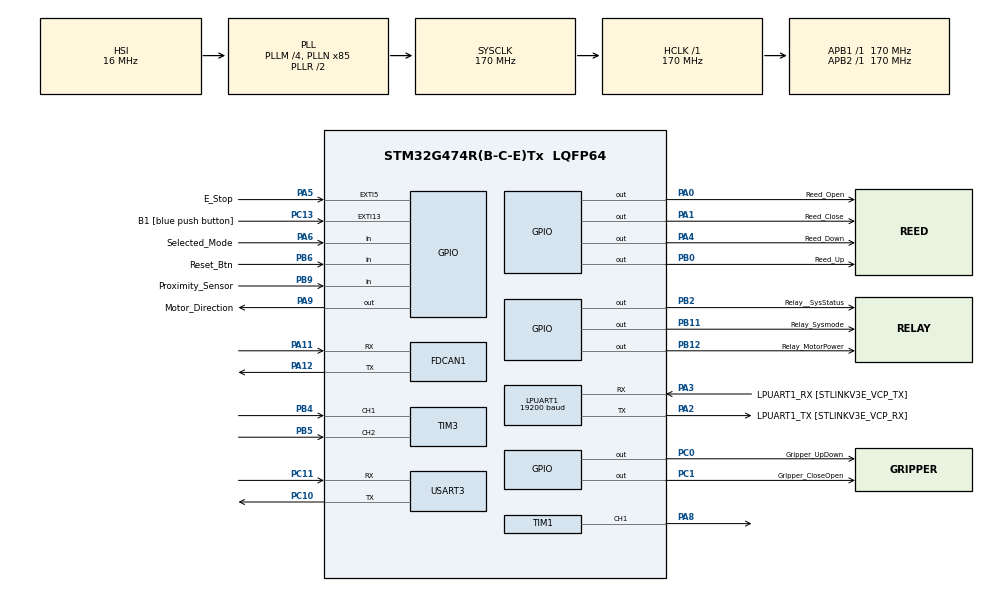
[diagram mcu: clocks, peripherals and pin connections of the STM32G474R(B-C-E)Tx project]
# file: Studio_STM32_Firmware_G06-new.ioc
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FDCAN1.CalculateBaudRateNominal=3541666
FDCAN1.CalculateTimeBitNominal=282
FDCAN1.CalculateTimeQuantumNominal=94.11764705882354
LPUART1.BaudRate=19200
LPUART1.Parity=UART_PARITY_EVEN
LPUART1.WordLength=UART_WORDLENGTH_9B
Mcu.Family=STM32G4
Mcu.Name=STM32G474R(B-C-E)Tx
Mcu.Package=LQFP64
NVIC.EXTI15_10_IRQn=true\:0\:0\:false\:false\:true\:true\:true\:true
NVIC.EXTI9_5_IRQn=true\:0\:0\:false\:false\:true\:true\:true\:true
NVIC.LPUART1_IRQn=true\:0\:0\:false\:false\:true\:true\:true\:true
NVIC.PriorityGroup=NVIC_PRIORITYGROUP_4
NVIC.TIM1_UP_TIM16_IRQn=true\:0\:0\:false\:false\:true\:true\:true\:true
NVIC.TIM6_DAC_IRQn=true\:0\:0\:false\:false\:true\:true\:true\:true
NVIC.USART3_IRQn=true\:0\:0\:false\:false\:true\:true\:true\:true
PA0.GPIO_Label=Reed_Open
PA0.Signal=GPIO_Output
PA1.GPIO_Label=Reed_Close
PA1.Signal=GPIO_Output
PA11.Mode=FDCAN_Activate
PA11.Signal=FDCAN1_RX
PA12.Mode=FDCAN_Activate
PA12.Signal=FDCAN1_TX
PA13.GPIO_Label=T_SWDIO
PA13.Signal=SYS_JTMS-SWDIO
PA14.GPIO_Label=T_SWCLK
PA14.Signal=SYS_JTCK-SWCLK
PA2.GPIO_Label=LPUART1_TX [STLINKV3E_VCP_RX]
PA2.Mode=Asynchronous
PA2.Signal=LPUART1_TX
PA3.GPIO_Label=LPUART1_RX [STLINKV3E_VCP_TX]
PA3.Mode=Asynchronous
PA3.Signal=LPUART1_RX
PA4.GPIO_Label=Reed_Down
PA4.Signal=GPIO_Output
PA5.GPIO_Label=E_Stop
PA5.GPIO_ModeDefaultEXTI=GPIO_MODE_IT_FALLING
PA5.GPIO_PuPd=GPIO_PULLUP
PA5.Signal=GPXTI5
PA6.GPIO_Label=Selected_Mode
PA6.GPIO_PuPd=GPIO_PULLUP
PA6.Signal=GPIO_Input
PA8.Signal=S_TIM1_CH1
PA9.GPIO_Label=Motor_Direction
PA9.Signal=GPIO_Output
PB0.GPIO_Label=Reed_Up
PB0.Signal=GPIO_Output
PB11.GPIO_Label=Relay_Sysmode
PB11.Signal=GPIO_Output
PB12.GPIO_Label=Relay_MotorPower
PB12.Signal=GPIO_Output
PB2.GPIO_Label=Relay__SysStatus
PB2.Signal=GPIO_Output
PB3.GPIO_Label=T_SWO
PB3.Signal=SYS_JTDO-SWO
PB4.Signal=S_TIM3_CH1
PB5.Signal=S_TIM3_CH2
PB6.GPIO_Label=Reset_Btn
PB6.GPIO_PuPd=GPIO_PULLUP
PB6.Signal=GPIO_Input
PB9.GPIO_Label=Proximity_Sensor
PB9.GPIO_PuPd=GPIO_PULLUP
PB9.Signal=GPIO_Input
PC0.GPIO_Label=Gripper_UpDown
PC0.Signal=GPIO_Output
PC1.GPIO_Label=Gripper_CloseOpen
PC1.Signal=GPIO_Output
PC10.Mode=Asynchronous
PC10.Signal=USART3_TX
PC11.Mode=Asynchronous
PC11.Signal=USART3_RX
PC13.GPIO_Label=B1 [blue push button]
PC13.Signal=GPXTI13
PC14-OSC32_IN.GPIO_Label=RCC_OSC32_IN
PC14-OSC32_IN.Signal=RCC_OSC32_IN
PC15-OSC32_OUT.GPIO_Label=RCC_OSC32_OUT
PC15-OSC32_OUT.Signal=RCC_OSC32_OUT
PF0-OSC_IN.GPIO_Label=RCC_OSC_IN
PF0-OSC_IN.Signal=RCC_OSC_IN
PF1-OSC_OUT.GPIO_Label=RCC_OSC_OUT
PF1-OSC_OUT.Signal=RCC_OSC_OUT
ProjectManager.HeapSize=0x200
ProjectManager.StackSize=0x400
ProjectManager.TargetToolchain=STM32CubeIDE
RCC.ADC12Freq_Value=170000000
RCC.ADC345Freq_Value=170000000
RCC.AHBFreq_Value=170000000
RCC.APB1Freq_Value=170000000
RCC.APB1TimFreq_Value=170000000
RCC.APB2Freq_Value=170000000
RCC.APB2TimFreq_Value=170000000
RCC.CortexFreq_Value=170000000
RCC.EXTERNAL_CLOCK_VALUE=12288000
RCC.HCLKFreq_Value=170000000
RCC.HSE_VALUE=24000000
RCC.HSI48_VALUE=48000000
RCC.HSI_VALUE=16000000
RCC.LPUART1CLockSelection=RCC_LPUART1CLKSOURCE_HSI
RCC.LSE_VALUE=32768
RCC.PLLM=RCC_PLLM_DIV4
RCC.PLLN=85
RCC.RTCClockSelection=RCC_RTCCLKSOURCE_LSE
RCC.SYSCLKFreq_VALUE=170000000
RCC.SYSCLKSource=RCC_SYSCLKSOURCE_PLLCLK
RCC.USBFreq_Value=170000000
RCC.VCOOutputFreq_Value=340000000
SH.S_TIM1_CH1.0=TIM1_CH1,PWM Generation1 CH1
SH.S_TIM3_CH1.0=TIM3_CH1,Encoder_Interface
SH.S_TIM3_CH2.0=TIM3_CH2,Encoder_Interface
TIM1.Channel-PWM\ Generation1\ CH1=TIM_CHANNEL_1
TIM1.PeriodNoDither=50
TIM1.Prescaler=169
TIM16.PeriodNoDither=49
TIM16.Prescaler=16999
TIM3.EncoderMode=TIM_ENCODERMODE_TI12
TIM6.AutoReloadPreload=TIM_AUTORELOAD_PRELOAD_ENABLE
TIM6.PeriodNoDither=9999
TIM6.Prescaler=169
USART3.SwapParam=ADVFEATURE_SWAP_ENABLE
USART3.VirtualMode-Asynchronous=VM_ASYNC
VP_SYS_VS_DBSignals.Mode=DisableDeadBatterySignals
VP_TIM16_VS_ClockSourceINT.Mode=Enable_Timer
VP_TIM1_VS_ClockSourceINT.Mode=Internal
VP_TIM6_VS_ClockSourceINT.Mode=Enable_Timer
board=NUCLEO-G474RE

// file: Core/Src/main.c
/* USER CODE BEGIN Header */
/**
  ******************************************************************************
  * @file           : main.c
  * @brief          : Main program body
  ******************************************************************************
  * @attention
  *
  * Copyright (c) 2026 STMicroelectronics.
  * All rights reserved.
  *
  * This software is licensed under terms that can be found in the LICENSE file
  * in the root directory of this software component.
  * If no LICENSE file comes with this software, it is provided AS-IS.
  *
  ******************************************************************************
  */
/* USER CODE END Header */
#include "main.h"

/* USER CODE BEGIN Includes */
#include "motor_controller.h"
#include "modbus_bridge.h"
#include "hw_io.h"
#include <string.h>
#include <stdio.h>
/* USER CODE END Includes */

FDCAN_HandleTypeDef hfdcan1;

UART_HandleTypeDef hlpuart1;
UART_HandleTypeDef huart3;

TIM_HandleTypeDef htim1;
TIM_HandleTypeDef htim3;
TIM_HandleTypeDef htim6;
TIM_HandleTypeDef htim16;

/* USER CODE BEGIN PV */
volatile uint8_t rx_byte;
volatile char rx_packet[4];
volatile int rx_ptr = 0;
volatile char rx_debug_log[16];  // Circular log to see command history in Live Expressions
volatile uint8_t debug_idx = 0;
volatile uint8_t modbus_rx_byte;
/* USER CODE END PV */

void SystemClock_Config(void);
static void MX_GPIO_Init(void);
static void MX_FDCAN1_Init(void);
static void MX_LPUART1_UART_Init(void);
static void MX_USART3_UART_Init(void);
static void MX_TIM1_Init(void);
static void MX_TIM3_Init(void);
static void MX_TIM6_Init(void);
static void MX_TIM16_Init(void);

int main(void)
{

  /* MCU Configuration--------------------------------------------------------*/

  /* Reset of all peripherals, Initializes the Flash interface and the Systick. */
  HAL_Init();

  /* Configure the system clock */
  SystemClock_Config();

  /* Initialize all configured peripherals */
  MX_GPIO_Init();
  MX_FDCAN1_Init();
  MX_LPUART1_UART_Init();
  MX_USART3_UART_Init();
  MX_TIM1_Init();
  MX_TIM3_Init();
  MX_TIM6_Init();
  MX_TIM16_Init();
  /* USER CODE BEGIN 2 */
  Motor_Init();
  HW_Init();
  Motor_SetVoltageLimit(12.0f, 12.0f);
  Motor_SetMotionProfile(250.0f, 500.0f, 0.1f);
  ModbusBridge_Init();

  HAL_UART_Receive_IT(&hlpuart1, (uint8_t*)&modbus_rx_byte, 1);
  HAL_UART_Receive_IT(&huart3, (uint8_t*)&rx_byte, 1);

  /* --- Startup Selection --- */
  printf("\r\n==========================================\r\n");
  printf("   ROBO-COOK STARTUP SELECTION\r\n");
  printf("==========================================\r\n");
  printf(" [A] - RUN AUTO-HOMING (RECALIBRATE)\r\n");
  printf(" [B] - SKIP (USE CURRENT POSITION)\r\n");
  printf(" Waiting for Joystick...\r\n");

  extern volatile bool emergency_stop;
  emergency_stop = true; // Stay locked until choice made

  while (1) {
      if (rx_packet[0] == 'A') {
          printf("\r\n>>> HOMING SELECTED <<<\r\n");
          emergency_stop = false;
          while (!Motor_RunHomingSequence()) {
              HAL_Delay(10);
          }
          rx_packet[0] = 'O'; // Reset to neutral
          break;
      }
      else if (rx_packet[0] == 'B') {
          printf("\r\n>>> HOMING SKIPPED <<<\r\n");
          emergency_stop = false;
          rx_packet[0] = 'O'; // Reset to neutral
          break;
      }
      HAL_Delay(50);
  }
  printf(" System Ready. Entering Main Loop...\r\n\r\n");
  /* USER CODE END 2 */

  /* Infinite loop */
  /* USER CODE BEGIN WHILE */
  uint32_t last_matlab_tick = HAL_GetTick();
  while (1)
  {
    /* USER CODE END WHILE */

    /* USER CODE BEGIN 3 */
    // Dummy usage to force linker to keep these symbols for Live Expressions
    if (debug_idx > 100) rx_debug_log[0] = 0;

    if (HAL_GetTick() - last_matlab_tick >= 20) {
      Motor_SendDataToMatlab();
      last_matlab_tick = HAL_GetTick();
    }

    if (trigger_homing_sequence) {
      static uint32_t last_homing_tick = 0;
      if (HAL_GetTick() - last_homing_tick >= 10) {
        if (Motor_RunHomingSequence()) {
          trigger_homing_sequence = false;
        }
        last_homing_tick = HAL_GetTick();
      }
    }

    ModbusBridge_UpdateRegisters();
    ModbusBridge_Process();
  }
  /* USER CODE END 3 */
}

void SystemClock_Config(void)
{
  RCC_OscInitTypeDef RCC_OscInitStruct = {0};
  RCC_ClkInitTypeDef RCC_ClkInitStruct = {0};

  /** Configure the main internal regulator output voltage
  */
  HAL_PWREx_ControlVoltageScaling(PWR_REGULATOR_VOLTAGE_SCALE1_BOOST);

  /** Initializes the RCC Oscillators according to the specified parameters
  * in the RCC_OscInitTypeDef structure.
  */
  RCC_OscInitStruct.OscillatorType = RCC_OSCILLATORTYPE_HSI;
  RCC_OscInitStruct.HSIState = RCC_HSI_ON;
  RCC_OscInitStruct.HSICalibrationValue = RCC_HSICALIBRATION_DEFAULT;
  RCC_OscInitStruct.PLL.PLLState = RCC_PLL_ON;
  RCC_OscInitStruct.PLL.PLLSource = RCC_PLLSOURCE_HSI;
  RCC_OscInitStruct.PLL.PLLM = RCC_PLLM_DIV4;
  RCC_OscInitStruct.PLL.PLLN = 85;
  RCC_OscInitStruct.PLL.PLLP = RCC_PLLP_DIV2;
  RCC_OscInitStruct.PLL.PLLQ = RCC_PLLQ_DIV2;
  RCC_OscInitStruct.PLL.PLLR = RCC_PLLR_DIV2;
  if (HAL_RCC_OscConfig(&RCC_OscInitStruct) != HAL_OK)
  {
    Error_Handler();
  }

  /** Initializes the CPU, AHB and APB buses clocks
  */
  RCC_ClkInitStruct.ClockType = RCC_CLOCKTYPE_HCLK|RCC_CLOCKTYPE_SYSCLK
                              |RCC_CLOCKTYPE_PCLK1|RCC_CLOCKTYPE_PCLK2;
  RCC_ClkInitStruct.SYSCLKSource = RCC_SYSCLKSOURCE_PLLCLK;
  RCC_ClkInitStruct.AHBCLKDivider = RCC_SYSCLK_DIV1;
  RCC_ClkInitStruct.APB1CLKDivider = RCC_HCLK_DIV1;
  RCC_ClkInitStruct.APB2CLKDivider = RCC_HCLK_DIV1;

  if (HAL_RCC_ClockConfig(&RCC_ClkInitStruct, FLASH_LATENCY_4) != HAL_OK)
  {
    Error_Handler();
  }
}

static void MX_FDCAN1_Init(void)
{

  hfdcan1.Instance = FDCAN1;
  hfdcan1.Init.ClockDivider = FDCAN_CLOCK_DIV1;
  hfdcan1.Init.FrameFormat = FDCAN_FRAME_CLASSIC;
  hfdcan1.Init.Mode = FDCAN_MODE_NORMAL;
  hfdcan1.Init.AutoRetransmission = DISABLE;
  hfdcan1.Init.TransmitPause = DISABLE;
  hfdcan1.Init.ProtocolException = DISABLE;
  hfdcan1.Init.NominalPrescaler = 16;
  hfdcan1.Init.NominalSyncJumpWidth = 1;
  hfdcan1.Init.NominalTimeSeg1 = 1;
  hfdcan1.Init.NominalTimeSeg2 = 1;
  hfdcan1.Init.DataPrescaler = 1;
  hfdcan1.Init.DataSyncJumpWidth = 1;
  hfdcan1.Init.DataTimeSeg1 = 1;
  hfdcan1.Init.DataTimeSeg2 = 1;
  hfdcan1.Init.StdFiltersNbr = 0;
  hfdcan1.Init.ExtFiltersNbr = 0;
  hfdcan1.Init.TxFifoQueueMode = FDCAN_TX_FIFO_OPERATION;
  if (HAL_FDCAN_Init(&hfdcan1) != HAL_OK)
  {
    Error_Handler();
  }

}

static void MX_LPUART1_UART_Init(void)
{

  hlpuart1.Instance = LPUART1;
  hlpuart1.Init.BaudRate = 19200;
  hlpuart1.Init.WordLength = UART_WORDLENGTH_9B;
  hlpuart1.Init.StopBits = UART_STOPBITS_1;
  hlpuart1.Init.Parity = UART_PARITY_EVEN;
  hlpuart1.Init.Mode = UART_MODE_TX_RX;
  hlpuart1.Init.HwFlowCtl = UART_HWCONTROL_NONE;
  hlpuart1.Init.OneBitSampling = UART_ONE_BIT_SAMPLE_DISABLE;
  hlpuart1.Init.ClockPrescaler = UART_PRESCALER_DIV1;
  hlpuart1.AdvancedInit.AdvFeatureInit = UART_ADVFEATURE_NO_INIT;
  if (HAL_UART_Init(&hlpuart1) != HAL_OK)
  {
    Error_Handler();
  }
  if (HAL_UARTEx_SetTxFifoThreshold(&hlpuart1, UART_TXFIFO_THRESHOLD_1_8) != HAL_OK)
  {
    Error_Handler();
  }
  if (HAL_UARTEx_SetRxFifoThreshold(&hlpuart1, UART_RXFIFO_THRESHOLD_1_8) != HAL_OK)
  {
    Error_Handler();
  }
  if (HAL_UARTEx_DisableFifoMode(&hlpuart1) != HAL_OK)
  {
    Error_Handler();
  }

}

static void MX_USART3_UART_Init(void)
{

  huart3.Instance = USART3;
  huart3.Init.BaudRate = 115200;
  huart3.Init.WordLength = UART_WORDLENGTH_8B;
  huart3.Init.StopBits = UART_STOPBITS_1;
  huart3.Init.Parity = UART_PARITY_NONE;
  huart3.Init.Mode = UART_MODE_TX_RX;
  huart3.Init.HwFlowCtl = UART_HWCONTROL_NONE;
  huart3.Init.OverSampling = UART_OVERSAMPLING_16;
  huart3.Init.OneBitSampling = UART_ONE_BIT_SAMPLE_DISABLE;
  huart3.Init.ClockPrescaler = UART_PRESCALER_DIV1;
  huart3.AdvancedInit.AdvFeatureInit = UART_ADVFEATURE_SWAP_INIT;
  huart3.AdvancedInit.Swap = UART_ADVFEATURE_SWAP_ENABLE;
  if (HAL_UART_Init(&huart3) != HAL_OK)
  {
    Error_Handler();
  }
  if (HAL_UARTEx_SetTxFifoThreshold(&huart3, UART_TXFIFO_THRESHOLD_1_8) != HAL_OK)
  {
    Error_Handler();
  }
  if (HAL_UARTEx_SetRxFifoThreshold(&huart3, UART_RXFIFO_THRESHOLD_1_8) != HAL_OK)
  {
    Error_Handler();
  }
  if (HAL_UARTEx_DisableFifoMode(&huart3) != HAL_OK)
  {
    Error_Handler();
  }

}

static void MX_TIM1_Init(void)
{

  TIM_ClockConfigTypeDef sClockSourceConfig = {0};
  TIM_MasterConfigTypeDef sMasterConfig = {0};
  TIM_OC_InitTypeDef sConfigOC = {0};
  TIM_BreakDeadTimeConfigTypeDef sBreakDeadTimeConfig = {0};

  htim1.Instance = TIM1;
  htim1.Init.Prescaler = 169;
  htim1.Init.CounterMode = TIM_COUNTERMODE_UP;
  htim1.Init.Period = 50;
  htim1.Init.ClockDivision = TIM_CLOCKDIVISION_DIV1;
  htim1.Init.RepetitionCounter = 0;
  htim1.Init.AutoReloadPreload = TIM_AUTORELOAD_PRELOAD_DISABLE;
  if (HAL_TIM_Base_Init(&htim1) != HAL_OK)
  {
    Error_Handler();
  }
  sClockSourceConfig.ClockSource = TIM_CLOCKSOURCE_INTERNAL;
  if (HAL_TIM_ConfigClockSource(&htim1, &sClockSourceConfig) != HAL_OK)
  {
    Error_Handler();
  }
  if (HAL_TIM_PWM_Init(&htim1) != HAL_OK)
  {
    Error_Handler();
  }
  sMasterConfig.MasterOutputTrigger = TIM_TRGO_RESET;
  sMasterConfig.MasterOutputTrigger2 = TIM_TRGO2_RESET;
  sMasterConfig.MasterSlaveMode = TIM_MASTERSLAVEMODE_DISABLE;
  if (HAL_TIMEx_MasterConfigSynchronization(&htim1, &sMasterConfig) != HAL_OK)
  {
    Error_Handler();
  }
  sConfigOC.OCMode = TIM_OCMODE_PWM1;
  sConfigOC.Pulse = 0;
  sConfigOC.OCPolarity = TIM_OCPOLARITY_HIGH;
  sConfigOC.OCNPolarity = TIM_OCNPOLARITY_HIGH;
  sConfigOC.OCFastMode = TIM_OCFAST_DISABLE;
  sConfigOC.OCIdleState = TIM_OCIDLESTATE_RESET;
  sConfigOC.OCNIdleState = TIM_OCNIDLESTATE_RESET;
  if (HAL_TIM_PWM_ConfigChannel(&htim1, &sConfigOC, TIM_CHANNEL_1) != HAL_OK)
  {
    Error_Handler();
  }
  sBreakDeadTimeConfig.OffStateRunMode = TIM_OSSR_DISABLE;
  sBreakDeadTimeConfig.OffStateIDLEMode = TIM_OSSI_DISABLE;
  sBreakDeadTimeConfig.LockLevel = TIM_LOCKLEVEL_OFF;
  sBreakDeadTimeConfig.DeadTime = 0;
  sBreakDeadTimeConfig.BreakState = TIM_BREAK_DISABLE;
  sBreakDeadTimeConfig.BreakPolarity = TIM_BREAKPOLARITY_HIGH;
  sBreakDeadTimeConfig.BreakFilter = 0;
  sBreakDeadTimeConfig.BreakAFMode = TIM_BREAK_AFMODE_INPUT;
  sBreakDeadTimeConfig.Break2State = TIM_BREAK2_DISABLE;
  sBreakDeadTimeConfig.Break2Polarity = TIM_BREAK2POLARITY_HIGH;
  sBreakDeadTimeConfig.Break2Filter = 0;
  sBreakDeadTimeConfig.Break2AFMode = TIM_BREAK_AFMODE_INPUT;
  sBreakDeadTimeConfig.AutomaticOutput = TIM_AUTOMATICOUTPUT_DISABLE;
  if (HAL_TIMEx_ConfigBreakDeadTime(&htim1, &sBreakDeadTimeConfig) != HAL_OK)
  {
    Error_Handler();
  }
  HAL_TIM_MspPostInit(&htim1);

}

static void MX_TIM3_Init(void)
{

  TIM_Encoder_InitTypeDef sConfig = {0};
  TIM_MasterConfigTypeDef sMasterConfig = {0};

  htim3.Instance = TIM3;
  htim3.Init.Prescaler = 0;
  htim3.Init.CounterMode = TIM_COUNTERMODE_UP;
  htim3.Init.Period = 65535;
  htim3.Init.ClockDivision = TIM_CLOCKDIVISION_DIV1;
  htim3.Init.AutoReloadPreload = TIM_AUTORELOAD_PRELOAD_DISABLE;
  sConfig.EncoderMode = TIM_ENCODERMODE_TI12;
  sConfig.IC1Polarity = TIM_ICPOLARITY_RISING;
  sConfig.IC1Selection = TIM_ICSELECTION_DIRECTTI;
  sConfig.IC1Prescaler = TIM_ICPSC_DIV1;
  sConfig.IC1Filter = 0;
  sConfig.IC2Polarity = TIM_ICPOLARITY_RISING;
  sConfig.IC2Selection = TIM_ICSELECTION_DIRECTTI;
  sConfig.IC2Prescaler = TIM_ICPSC_DIV1;
  sConfig.IC2Filter = 0;
  if (HAL_TIM_Encoder_Init(&htim3, &sConfig) != HAL_OK)
  {
    Error_Handler();
  }
  sMasterConfig.MasterOutputTrigger = TIM_TRGO_RESET;
  sMasterConfig.MasterSlaveMode = TIM_MASTERSLAVEMODE_DISABLE;
  if (HAL_TIMEx_MasterConfigSynchronization(&htim3, &sMasterConfig) != HAL_OK)
  {
    Error_Handler();
  }

}

static void MX_TIM6_Init(void)
{

  TIM_MasterConfigTypeDef sMasterConfig = {0};

  htim6.Instance = TIM6;
  htim6.Init.Prescaler = 169;
  htim6.Init.CounterMode = TIM_COUNTERMODE_UP;
  htim6.Init.Period = 9999;
  htim6.Init.AutoReloadPreload = TIM_AUTORELOAD_PRELOAD_ENABLE;
  if (HAL_TIM_Base_Init(&htim6) != HAL_OK)
  {
    Error_Handler();
  }
  sMasterConfig.MasterOutputTrigger = TIM_TRGO_RESET;
  sMasterConfig.MasterSlaveMode = TIM_MASTERSLAVEMODE_DISABLE;
  if (HAL_TIMEx_MasterConfigSynchronization(&htim6, &sMasterConfig) != HAL_OK)
  {
    Error_Handler();
  }

}

static void MX_TIM16_Init(void)
{

  htim16.Instance = TIM16;
  htim16.Init.Prescaler = 16999;
  htim16.Init.CounterMode = TIM_COUNTERMODE_UP;
  htim16.Init.Period = 49;
  htim16.Init.ClockDivision = TIM_CLOCKDIVISION_DIV1;
  htim16.Init.RepetitionCounter = 0;
  htim16.Init.AutoReloadPreload = TIM_AUTORELOAD_PRELOAD_DISABLE;
  if (HAL_TIM_Base_Init(&htim16) != HAL_OK)
  {
    Error_Handler();
  }

}

static void MX_GPIO_Init(void)
{
  GPIO_InitTypeDef GPIO_InitStruct = {0};

  /* GPIO Ports Clock Enable */
  __HAL_RCC_GPIOC_CLK_ENABLE();
  __HAL_RCC_GPIOF_CLK_ENABLE();
  __HAL_RCC_GPIOA_CLK_ENABLE();
  __HAL_RCC_GPIOB_CLK_ENABLE();

  /*Configure GPIO pin Output Level */
  HAL_GPIO_WritePin(GPIOC, Gripper_UpDown_Pin|Gripper_CloseOpen_Pin, GPIO_PIN_RESET);

  /*Configure GPIO pin Output Level */
  HAL_GPIO_WritePin(GPIOA, Reed_Open_Pin|Reed_Close_Pin|Reed_Down_Pin|Motor_Direction_Pin, GPIO_PIN_RESET);

  /*Configure GPIO pin Output Level */
  HAL_GPIO_WritePin(GPIOB, Reed_Up_Pin|Relay__SysStatus_Pin|Relay_Sysmode_Pin|Relay_MotorPower_Pin, GPIO_PIN_RESET);

  /*Configure GPIO pin : B1_Pin */
  GPIO_InitStruct.Pin = B1_Pin;
  GPIO_InitStruct.Mode = GPIO_MODE_IT_RISING;
  GPIO_InitStruct.Pull = GPIO_NOPULL;
  HAL_GPIO_Init(B1_GPIO_Port, &GPIO_InitStruct);

  /*Configure GPIO pins : Gripper_UpDown_Pin Gripper_CloseOpen_Pin */
  GPIO_InitStruct.Pin = Gripper_UpDown_Pin|Gripper_CloseOpen_Pin;
  GPIO_InitStruct.Mode = GPIO_MODE_OUTPUT_PP;
  GPIO_InitStruct.Pull = GPIO_NOPULL;
  GPIO_InitStruct.Speed = GPIO_SPEED_FREQ_LOW;
  HAL_GPIO_Init(GPIOC, &GPIO_InitStruct);

  /*Configure GPIO pins : Reed_Open_Pin Reed_Close_Pin Reed_Down_Pin Motor_Direction_Pin */
  GPIO_InitStruct.Pin = Reed_Open_Pin|Reed_Close_Pin|Reed_Down_Pin|Motor_Direction_Pin;
  GPIO_InitStruct.Mode = GPIO_MODE_OUTPUT_PP;
  GPIO_InitStruct.Pull = GPIO_NOPULL;
  GPIO_InitStruct.Speed = GPIO_SPEED_FREQ_LOW;
  HAL_GPIO_Init(GPIOA, &GPIO_InitStruct);

  /*Configure GPIO pin : E_Stop_Pin */
  GPIO_InitStruct.Pin = E_Stop_Pin;
  GPIO_InitStruct.Mode = GPIO_MODE_IT_FALLING;
  GPIO_InitStruct.Pull = GPIO_PULLUP;
  HAL_GPIO_Init(E_Stop_GPIO_Port, &GPIO_InitStruct);

  /*Configure GPIO pin : Selected_Mode_Pin */
  GPIO_InitStruct.Pin = Selected_Mode_Pin;
  GPIO_InitStruct.Mode = GPIO_MODE_INPUT;
  GPIO_InitStruct.Pull = GPIO_PULLUP;
  HAL_GPIO_Init(Selected_Mode_GPIO_Port, &GPIO_InitStruct);

  /*Configure GPIO pins : Reed_Up_Pin Relay__SysStatus_Pin Relay_Sysmode_Pin Relay_MotorPower_Pin */
  GPIO_InitStruct.Pin = Reed_Up_Pin|Relay__SysStatus_Pin|Relay_Sysmode_Pin|Relay_MotorPower_Pin;
  GPIO_InitStruct.Mode = GPIO_MODE_OUTPUT_PP;
  GPIO_InitStruct.Pull = GPIO_NOPULL;
  GPIO_InitStruct.Speed = GPIO_SPEED_FREQ_LOW;
  HAL_GPIO_Init(GPIOB, &GPIO_InitStruct);

  /*Configure GPIO pins : Reset_Btn_Pin Proximity_Sensor_Pin */
  GPIO_InitStruct.Pin = Reset_Btn_Pin|Proximity_Sensor_Pin;
  GPIO_InitStruct.Mode = GPIO_MODE_INPUT;
  GPIO_InitStruct.Pull = GPIO_PULLUP;
  HAL_GPIO_Init(GPIOB, &GPIO_InitStruct);

  /* EXTI interrupt init*/
  HAL_NVIC_SetPriority(EXTI9_5_IRQn, 0, 0);
  HAL_NVIC_EnableIRQ(EXTI9_5_IRQn);

  HAL_NVIC_SetPriority(EXTI15_10_IRQn, 0, 0);
  HAL_NVIC_EnableIRQ(EXTI15_10_IRQn);

}

/* USER CODE BEGIN 4 */
int _write(int file, char *ptr, int len)
{
  HAL_UART_Transmit(&hlpuart1, (uint8_t*)ptr, len, HAL_MAX_DELAY);
  return len;
}

void HAL_GPIO_EXTI_Callback(uint16_t GPIO_Pin)
{
  /* E-Stop: PA5 triggers immediately on falling edge */
  if (GPIO_Pin == E_Stop_Pin) {
    HW_EStop_Trigger();
  }
}

void HAL_TIM_PeriodElapsedCallback(TIM_HandleTypeDef *htim)
{
  if (htim->Instance == TIM6) {
    Motor_ControlLoop();
  }
}

void HAL_UART_RxCpltCallback(UART_HandleTypeDef *huart) {
    if (huart->Instance == USART3) {
        char ch = (char)rx_byte;

        // Debug logging (optional, keeps a history of raw bytes)
        rx_debug_log[debug_idx++ % 16] = ch;

        if (ch == '\n' || ch == '\r') {
            if (rx_ptr == 3) {
                // We have a full packet: [Action][Safety][Status]
                Motor_ProcessPacket(rx_packet[0], rx_packet[1], rx_packet[2]);

                // Echo the action character back for the audio handshake
                HAL_UART_Transmit(&huart3, (uint8_t*)&rx_packet[0], 1, 5);
            }
            rx_ptr = 0;
        } else if (rx_ptr < 3) {
            rx_packet[rx_ptr++] = ch;
        }

        HAL_UART_Receive_IT(&huart3, (uint8_t*)&rx_byte, 1);
    } else if (huart->Instance == LPUART1) {
        ModbusBridge_RxCallback(modbus_rx_byte);
        HAL_UART_Receive_IT(&hlpuart1, (uint8_t*)&modbus_rx_byte, 1);
    }
}
/* USER CODE END 4 */

void Error_Handler(void)
{
  __disable_irq();
  while (1)
  {
  }
}
